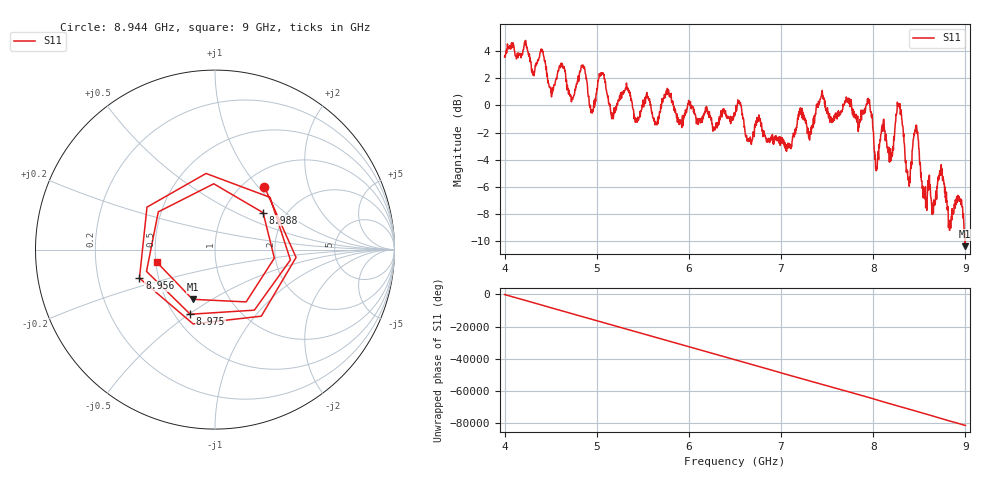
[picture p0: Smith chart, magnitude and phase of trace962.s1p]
! Created with skrf 1.8.0 (http://scikit-rf.org).
# Hz S RI R 50.0
!freq ReS11 ImS11
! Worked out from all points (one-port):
!   1601 points, 4 GHz to 9 GHz, reference 50 ohm
!   lowest |S11| = -10.3 dB at 8.997 GHz (marker M1), VSWR 1.87, Z = 33.8 - j20.6 ohm
!   |S11| at or under -10 dB: 8.995915 GHz to 8.998336 GHz (2.421 MHz wide, 0.0269 % of centre)
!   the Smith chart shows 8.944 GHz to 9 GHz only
!   S11 on the Smith chart (normalised r, x): 8.944 GHz: 1.24, +1.08; 8.956 GHz: 0.39, -0.16; 8.975 GHz: 0.60, -0.51; 8.988 GHz: 1.53, +0.71; 9 GHz: 0.51, -0.08
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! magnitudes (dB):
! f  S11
! 4 GHz  3.6
! 4.406 GHz  4.1
! 4.506 GHz  1.0
! 4.625 GHz  3.0
! 4.731 GHz  0.5
! 4.856 GHz  2.9
! 4.944 GHz  -0.4
! 5.053 GHz  2.4
! 5.159 GHz  -0.7
! 5.25 GHz  0.7
! 5.875 GHz  -1.2
! 6.5 GHz  -0.6
! 7.125 GHz  -2.3
! 7.75 GHz  0.4
! 7.953 GHz  0.4
! 8.034 GHz  -4.8
! 8.103 GHz  -1.9
! 8.197 GHz  -3.6
! 8.281 GHz  0.1
! 8.375 GHz  -5.4
! 8.466 GHz  -1.9
! 8.559 GHz  -6.9
! 8.944 GHz  -7.0
! 8.956 GHz  -6.9
! 8.975 GHz  -8.3
! 8.988 GHz  -9.4
! 8.997 GHz  -10.3
! 9 GHz  -9.6
